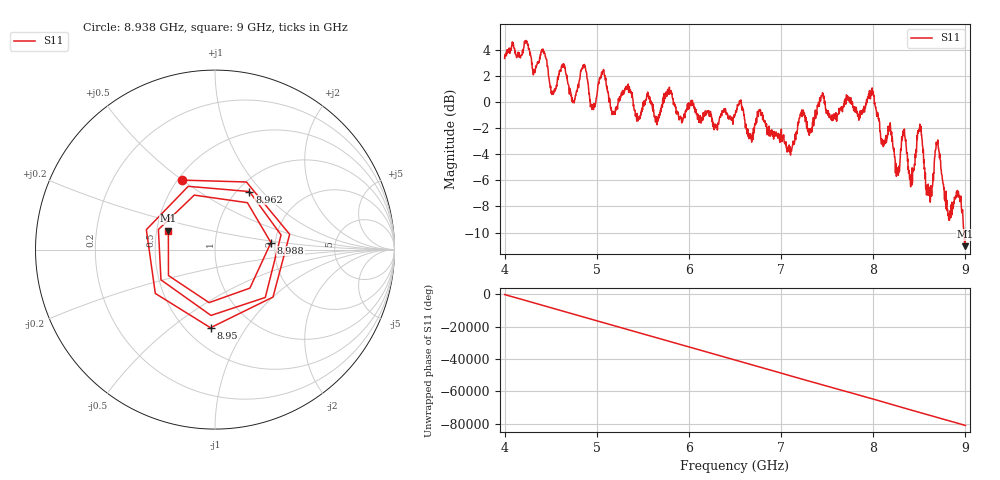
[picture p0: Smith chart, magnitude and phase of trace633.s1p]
! Created with skrf 1.8.0 (http://scikit-rf.org).
# Hz S RI R 50.0
!freq ReS11 ImS11
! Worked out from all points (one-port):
!   1601 points, 4 GHz to 9 GHz, reference 50 ohm
!   lowest |S11| = -11.0 dB at 9 GHz (marker M1), VSWR 1.78, Z = 28.8 + j6.61 ohm
!   |S11| at or under -10 dB: 8.985552 GHz to end of sweep
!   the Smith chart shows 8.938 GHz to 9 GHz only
!   S11 on the Smith chart (normalised r, x): 8.938 GHz: 0.53, +0.50; 8.95 GHz: 0.65, -0.70; 8.962 GHz: 1.13, +0.85; 8.988 GHz: 1.90, +0.16; 9 GHz: 0.58, +0.13
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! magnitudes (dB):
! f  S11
! 4 GHz  3.3
! 4.419 GHz  4.0
! 4.528 GHz  0.8
! 4.625 GHz  2.8
! 4.747 GHz  0.0
! 4.856 GHz  2.7
! 4.956 GHz  -0.4
! 5.062 GHz  2.3
! 5.25 GHz  0.3
! 5.875 GHz  -0.8
! 6.5 GHz  -1.0
! 7.125 GHz  -3.3
! 7.441 GHz  0.4
! 7.75 GHz  -0.1
! 7.984 GHz  0.5
! 8.262 GHz  -5.5
! 8.331 GHz  -2.1
! 8.375 GHz  -4.4
! 8.419 GHz  -6.4
! 8.506 GHz  -1.7
! 8.594 GHz  -7.1
! 8.697 GHz  -3.2
! 8.819 GHz  -9.0
! 8.938 GHz  -7.4
! 8.95 GHz  -7.2
! 8.962 GHz  -8.5
! 8.988 GHz  -10.1
! 9 GHz  -11.0
